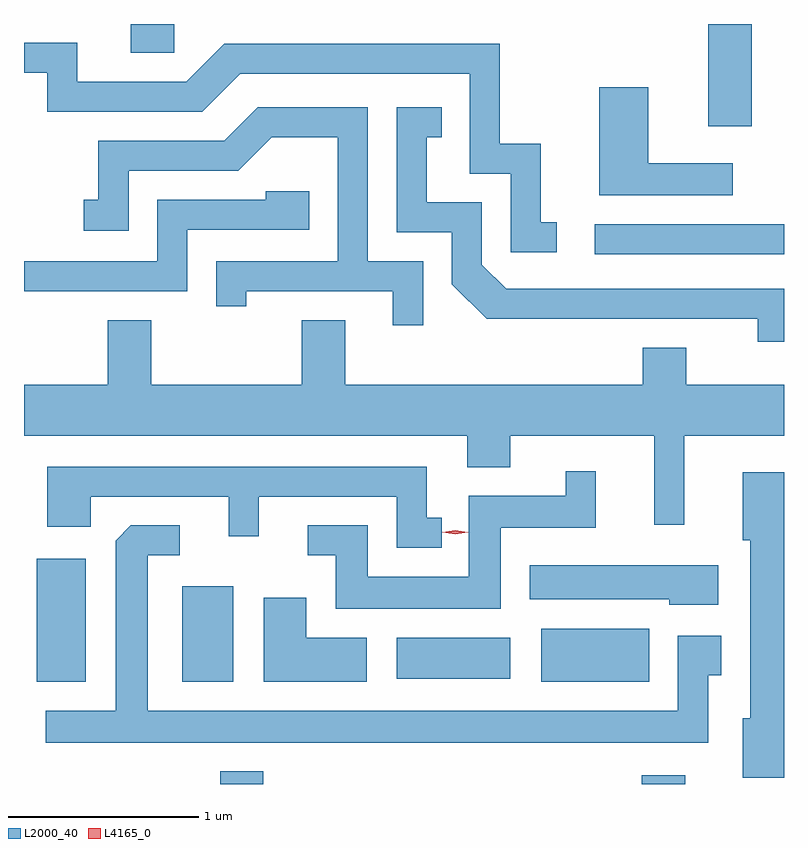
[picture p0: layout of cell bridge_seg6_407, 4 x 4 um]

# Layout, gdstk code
import gdstk
lib = gdstk.Library(unit=1e-6, precision=1e-09)
def R(c, l, rs):  # rectangles x0, y0, x1, y1
    for r in rs: c.add(gdstk.rectangle(r[:2], r[2:], *l))
def P(c, l, *ps):  # polygons
    for p in ps: c.add(gdstk.Polygon(p, *l))
L2000_40 = (2000, 40)
L4165_0 = (4165, 0)

bridge_seg6_407 = lib.new_cell('bridge_seg6_407')
R(bridge_seg6_407, L2000_40, [(890.371,1601.483,890.599,1601.549), (892.591,1601.483,892.819,1601.529), (889.406,1602.021,889.664,1602.669), (890.171,1602.021,890.439,1602.524), (892.061,1602.021,892.629,1602.299), (891.301,1602.036,891.899,1602.254), (892.343,1604.271,893.339,1604.429), (892.941,1604.946,893.169,1605.483), (889.901,1605.331,890.129,1605.483)])
P(bridge_seg6_407, L2000_40, [(892.143,1604.439),(892.059,1604.439),(892.059,1604.854),(891.844,1604.854),(891.844,1605.379),(890.394,1605.379),(890.194,1605.179),(889.619,1605.179),(889.619,1605.384),(889.339,1605.384),(889.339,1605.226),(889.461,1605.226),(889.461,1605.021),(890.277,1605.021),(890.477,1605.221),(891.686,1605.221),(891.686,1604.696),(891.901,1604.696),(891.901,1604.281),(892.143,1604.281)],
  [(893.068,1604.749),(892.624,1604.749),(892.624,1605.149),(892.366,1605.149),(892.366,1604.581),(893.068,1604.581)],
  [(891.439,1604.234),(891.149,1604.234),(891.149,1605.044),(890.569,1605.044),(890.394,1604.869),(889.731,1604.869),(889.731,1604.559),(889.653,1604.559),(889.653,1604.396),(889.889,1604.396),(889.889,1604.711),(890.467,1604.711),(890.642,1604.886),(890.991,1604.886),(890.991,1604.234),(890.351,1604.234),(890.351,1603.998),(890.509,1603.998),(890.509,1604.076),(891.281,1604.076),(891.281,1603.898),(891.439,1603.898)],
  [(893.339,1604.089),(891.877,1604.089),(891.749,1604.217),(891.749,1604.544),(891.459,1604.544),(891.459,1604.886),(891.538,1604.886),(891.538,1605.044),(891.301,1605.044),(891.301,1604.386),(891.591,1604.386),(891.591,1604.114),(891.774,1603.931),(893.201,1603.931),(893.201,1603.811),(893.339,1603.811)],
  [(890.199,1604.401),(890.839,1604.401),(890.839,1604.604),(890.611,1604.604),(890.611,1604.559),(890.041,1604.559),(890.041,1604.234),(889.339,1604.234),(889.339,1604.076),(890.199,1604.076)],
  [(892.814,1603.316),(893.339,1603.316),(893.339,1603.584),(892.824,1603.584),(892.824,1603.779),(892.596,1603.779),(892.596,1603.584),(891.029,1603.584),(891.029,1603.924),(890.801,1603.924),(890.801,1603.584),(890.009,1603.584),(890.009,1603.924),(889.781,1603.924),(889.781,1603.584),(889.339,1603.584),(889.339,1603.316),(891.671,1603.316),(891.671,1603.151),(891.899,1603.151),(891.899,1603.316),(892.656,1603.316),(892.656,1602.848),(892.814,1602.848)],
  [(891.538,1602.884),(891.459,1602.884),(891.459,1603.154),(889.461,1603.154),(889.461,1602.836),(889.689,1602.836),(889.689,1602.996),(890.416,1602.996),(890.416,1602.788),(890.574,1602.788),(890.574,1602.996),(891.301,1602.996),(891.301,1602.726),(891.538,1602.726)],
  [(891.849,1602.831),(892.349,1602.831),(892.349,1603.128),(892.191,1603.128),(892.191,1602.999),(891.681,1602.999),(891.681,1602.574),(891.149,1602.574),(891.149,1602.844),(890.833,1602.844),(890.833,1602.686),(890.981,1602.686),(890.981,1602.406),(891.849,1602.406)],
  [(893.339,1603.124),(893.121,1603.124),(893.121,1602.766),(893.161,1602.766),(893.161,1601.829),(893.121,1601.829),(893.121,1601.516),(893.339,1601.516)],
  [(892.939,1602.056),(893.009,1602.056),(893.009,1602.264),(892.781,1602.264),(892.781,1601.869),(889.989,1601.869),(889.989,1602.686),(890.158,1602.686),(890.158,1602.844),(889.902,1602.844),(889.821,1602.764),(889.821,1601.869),(889.453,1601.869),(889.453,1601.701),(892.939,1601.701)],
  [(892.994,1602.634),(892.001,1602.634),(892.001,1602.456),(892.736,1602.456),(892.736,1602.426),(892.994,1602.426)],
  [(891.144,1602.254),(890.824,1602.254),(890.824,1602.464),(890.601,1602.464),(890.601,1602.021),(891.144,1602.021)])
P(bridge_seg6_407, L4165_0, [(891.608,1602.798),(891.539,1602.808),(891.539,1602.808),(891.539,1602.809),(891.608,1602.818),(891.678,1602.809),(891.678,1602.808),(891.678,1602.808)])

lib.write_gds('bridge_seg6_407.gds')
